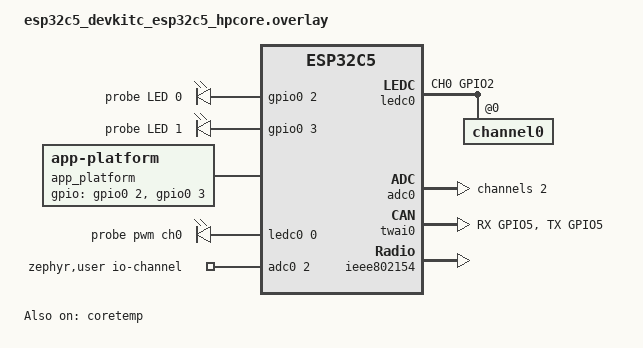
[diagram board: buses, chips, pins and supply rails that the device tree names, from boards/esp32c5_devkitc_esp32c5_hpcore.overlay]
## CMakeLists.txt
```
# SPDX-License-Identifier: Apache-2.0

cmake_minimum_required(VERSION 3.20.0)
find_package(Zephyr REQUIRED HINTS $ENV{ZEPHYR_BASE})
project(app_probe)

target_sources(app PRIVATE
  src/main.c
)

# Build the probe as a loadable llext, embedded and SHA-256 verified.
set(ext_src ${PROJECT_SOURCE_DIR}/module/src/probe_app.c)
set(bin ${PROJECT_BINARY_DIR}/llext/probe_app.llext)
set(inc ${ZEPHYR_BINARY_DIR}/include/generated/probe_app.inc)
set(sha ${ZEPHYR_BINARY_DIR}/include/generated/probe_app.sha256.inc)

app_platform_add_module(probe_app_ext OUTPUT ${bin} SOURCES ${ext_src})
if(NOT CONFIG_APP_PLATFORM_BLE)
  llext_compile_definitions(probe_app_ext PROBE_NO_BLE)
endif()
if(NOT CONFIG_APP_PLATFORM_RADIO)
  llext_compile_definitions(probe_app_ext PROBE_NO_RADIO)
endif()
llext_include_directories(probe_app_ext
  ${CMAKE_CURRENT_SOURCE_DIR}/src
  ${ZEPHYR_BINARY_DIR}/include/generated
)
generate_inc_file_for_target(app ${bin} ${inc})

add_custom_command(
  OUTPUT  ${sha}
  COMMAND ${CMAKE_COMMAND}
    -DMODULE_BIN=${bin}
    -DOUT_INC=${sha}
    -P ${CMAKE_CURRENT_SOURCE_DIR}/cmake/gen_sha256_inc.cmake
  DEPENDS ${bin}
)
add_custom_target(probe_app_sha DEPENDS ${sha})
add_dependencies(app probe_app_sha)
```

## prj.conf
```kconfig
CONFIG_APPLICATION_DEFINED_SYSCALL=y

CONFIG_APP_PLATFORM=y
CONFIG_APP_PLATFORM_MAX_APPS=1
CONFIG_APP_PLATFORM_LOADER=y
CONFIG_APP_PLATFORM_SERVICES=y
CONFIG_APP_PLATFORM_GPIO=y
CONFIG_APP_PLATFORM_PERIPH=y
CONFIG_APP_PLATFORM_BUS=y
CONFIG_APP_PLATFORM_BLE=y

CONFIG_TASK_WDT=y
CONFIG_TASK_WDT_CHANNELS=6

CONFIG_LLEXT=y
CONFIG_LLEXT_HEAP_SIZE=64
CONFIG_LLEXT_TYPE_ELF_RELOCATABLE=y

CONFIG_PSA_CRYPTO=y
CONFIG_MBEDTLS_ENABLE_HEAP=y
CONFIG_PSA_WANT_ALG_SHA_256=y

CONFIG_ENTROPY_GENERATOR=y

CONFIG_SENSOR=y
CONFIG_GPIO=y
CONFIG_PWM=y
CONFIG_ADC=y
CONFIG_I2C=y
CONFIG_SPI=y
CONFIG_SERIAL=y

CONFIG_BT=y
CONFIG_BT_OBSERVER=y
CONFIG_BT_CENTRAL=y
CONFIG_BT_GATT_CLIENT=y
CONFIG_BT_DEVICE_NAME="c6-platform"

CONFIG_APP_PLATFORM_RADIO=y
CONFIG_NETWORKING=y
CONFIG_NET_IPV6=y
CONFIG_NET_UDP=y
CONFIG_NET_SOCKETS=y
CONFIG_NET_L2_IEEE802154=y
CONFIG_NET_CONFIG_IEEE802154_CHANNEL=26
CONFIG_NET_CONFIG_SETTINGS=y
CONFIG_NET_CONFIG_NEED_IPV6=y
CONFIG_NET_CONFIG_MY_IPV6_ADDR="2001:db8::2"
CONFIG_NET_CONFIG_PEER_IPV6_ADDR="2001:db8::1"

CONFIG_FLASH=y
CONFIG_FLASH_MAP=y
CONFIG_FLASH_PAGE_LAYOUT=y

CONFIG_HWINFO=y

CONFIG_APP_PLATFORM_CAN=y
CONFIG_APP_PLATFORM_CAN_LOOPBACK=y
CONFIG_CAN=y

CONFIG_APP_PLATFORM_DMA=y
CONFIG_DMA=y
CONFIG_DMA_ESP32=y

CONFIG_LOG=y
CONFIG_LOG_MODE_MINIMAL=y
CONFIG_THREAD_NAME=y
CONFIG_THREAD_STACK_INFO=y
CONFIG_INIT_STACKS=y
CONFIG_THREAD_RUNTIME_STATS=y

CONFIG_MAIN_STACK_SIZE=4096
CONFIG_HEAP_MEM_POOL_SIZE=32768
CONFIG_APP_PLATFORM_SENSOR=y
```

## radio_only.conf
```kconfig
# Build the probe with BLE compiled out so the 802.15.4 radio service can be
# exercised. BLE and 802.15.4 share one radio on this SoC and cannot run at
# once, so the radio echo test runs only in this configuration.
#   west build -b <board> samples/subsys/app_probe -- -DEXTRA_CONF_FILE=radio_only.conf
CONFIG_BT=n
CONFIG_APP_PLATFORM_BLE=n
```

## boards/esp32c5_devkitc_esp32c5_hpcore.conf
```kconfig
# The ESP32-C5 has 378 KB of internal SRAM: with Bluetooth, 802.15.4 and every
# service group compiled in, a 24 KB loadable-extension heap is what fits.
CONFIG_LLEXT_HEAP_SIZE=24
CONFIG_BT_DEVICE_NAME="c5-platform"
```

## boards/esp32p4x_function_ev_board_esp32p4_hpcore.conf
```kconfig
# The ESP32-P4 has no native radio: build the probe without the Bluetooth and
# 802.15.4 service groups.
CONFIG_BT=n
CONFIG_APP_PLATFORM_BLE=n
CONFIG_APP_PLATFORM_RADIO=n
CONFIG_NETWORKING=n
```

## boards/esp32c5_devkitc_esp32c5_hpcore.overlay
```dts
/*
 * Copyright (c) 2026 Espressif Systems (Shanghai) Co., Ltd.
 *
 * SPDX-License-Identifier: Apache-2.0
 */

#include <zephyr/dt-bindings/pinctrl/esp32c5-pinctrl.h>
#include <zephyr/dt-bindings/pwm/pwm.h>

/ {
	leds {
		compatible = "gpio-leds";

		led_a: led_0 {
			gpios = <&gpio0 2 GPIO_ACTIVE_HIGH>;
			label = "probe LED 0";
		};

		led_b: led_1 {
			gpios = <&gpio0 3 GPIO_ACTIVE_HIGH>;
			label = "probe LED 1";
		};
	};

	app_platform {
		compatible = "zephyr,app-platform";
		gpios = <&gpio0 2 GPIO_ACTIVE_HIGH>,
			<&gpio0 3 GPIO_ACTIVE_HIGH>;
		line-names = "probe LED 0", "probe LED 1";
	};

	app_pwm: app_pwm {
		compatible = "pwm-leds";

		app_pwm_ch0: app_pwm_ch0 {
			pwms = <&ledc0 0 PWM_HZ(1000) PWM_POLARITY_NORMAL>;
			label = "probe pwm ch0";
		};
	};

	zephyr,user {
		io-channels = <&adc0 2>;
	};

	aliases {
		led0 = &led_a;
		led1 = &led_b;
		app-pwm0 = &app_pwm_ch0;
		app-i2c = &i2c0;
		app-spi = &spi2;
	};

	chosen {
		app-uart = &uart0;
	};
};

&pinctrl {
	ledc0_default: ledc0_default {
		group1 {
			pinmux = <LEDC_CH0_GPIO2>;
			output-enable;
		};
	};

	twai_default: twai_default {
		group1 {
			pinmux = <TWAI0_RX_GPIO5>;
			output-enable;
		};

		group2 {
			pinmux = <TWAI0_TX_GPIO5>;
			input-enable;
		};
	};
};

&ledc0 {
	pinctrl-0 = <&ledc0_default>;
	pinctrl-names = "default";
	status = "okay";
	#address-cells = <1>;
	#size-cells = <0>;

	channel0@0 {
		reg = <0x0>;
		timer = <0>;
	};
};

&adc0 {
	#address-cells = <1>;
	#size-cells = <0>;
	status = "okay";

	channel@2 {
		reg = <2>;
		zephyr,gain = "ADC_GAIN_1_4";
		zephyr,reference = "ADC_REF_INTERNAL";
		zephyr,acquisition-time = <ADC_ACQ_TIME_DEFAULT>;
		zephyr,resolution = <12>;
	};
};

&twai0 {
	status = "okay";
	pinctrl-0 = <&twai_default>;
	pinctrl-names = "default";

	can-transceiver {
		max-bitrate = <1000000>;
	};
};

&dma {
	status = "okay";
};

&ieee802154 {
	status = "okay";
};

&coretemp {
	status = "okay";
};
```

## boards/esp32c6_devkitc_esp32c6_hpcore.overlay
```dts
/*
 * Copyright (c) 2026 Espressif Systems (Shanghai) Co., Ltd.
 * SPDX-License-Identifier: Apache-2.0
 */

#include <zephyr/dt-bindings/pwm/pwm.h>

/ {
	leds {
		compatible = "gpio-leds";

		led_a: led_0 {
			gpios = <&gpio0 6 GPIO_ACTIVE_HIGH>;
			label = "probe LED 0";
		};

		led_b: led_1 {
			gpios = <&gpio0 7 GPIO_ACTIVE_HIGH>;
			label = "probe LED 1";
		};
	};

	app_platform {
		compatible = "zephyr,app-platform";
		gpios = <&gpio0 6 GPIO_ACTIVE_HIGH>,
			<&gpio0 7 GPIO_ACTIVE_HIGH>;
		line-names = "probe LED 0", "probe LED 1";
	};

	app_pwm: app_pwm {
		compatible = "pwm-leds";

		app_pwm_ch0: app_pwm_ch0 {
			pwms = <&ledc0 0 PWM_HZ(1000) PWM_POLARITY_NORMAL>;
			label = "probe pwm ch0";
		};
	};

	zephyr,user {
		io-channels = <&adc0 2>;
	};

	aliases {
		app-pwm0 = &app_pwm_ch0;
		app-i2c = &i2c0;
		app-spi = &spi2;
	};
};

&pinctrl {
	ledc0_default: ledc0_default {
		group1 {
			pinmux = <LEDC_CH0_GPIO2>;
			output-enable;
		};
	};

	twai_default: twai_default {
		group1 {
			pinmux = <TWAI0_RX_GPIO5>;
			output-enable;
		};

		group2 {
			pinmux = <TWAI0_TX_GPIO5>;
			input-enable;
		};
	};
};

&twai0 {
	status = "okay";
	bitrate = <125000>;
	pinctrl-0 = <&twai_default>;
	pinctrl-names = "default";

	can-transceiver {
		max-bitrate = <1000000>;
	};
};

&ledc0 {
	pinctrl-0 = <&ledc0_default>;
	pinctrl-names = "default";
	status = "okay";
	#address-cells = <1>;
	#size-cells = <0>;

	channel0@0 {
		reg = <0x0>;
		timer = <0>;
	};
};

&adc0 {
	#address-cells = <1>;
	#size-cells = <0>;
	status = "okay";

	channel@2 {
		reg = <2>;
		zephyr,gain = "ADC_GAIN_1_4";
		zephyr,reference = "ADC_REF_INTERNAL";
		zephyr,acquisition-time = <ADC_ACQ_TIME_DEFAULT>;
		zephyr,resolution = <12>;
	};
};

&dma {
	status = "okay";
};

&coretemp {
	status = "okay";
};

&ieee802154 {
	status = "okay";
};
```

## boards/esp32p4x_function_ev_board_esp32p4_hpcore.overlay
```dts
/*
 * Copyright (c) 2026 Espressif Systems (Shanghai) Co., Ltd.
 *
 * SPDX-License-Identifier: Apache-2.0
 */

#include <zephyr/dt-bindings/pinctrl/esp32p4-pinctrl.h>
#include <zephyr/dt-bindings/pwm/pwm.h>

/ {
	leds {
		compatible = "gpio-leds";

		led_a: led_0 {
			gpios = <&gpio0 2 GPIO_ACTIVE_HIGH>;
			label = "probe LED 0";
		};

		led_b: led_1 {
			gpios = <&gpio0 3 GPIO_ACTIVE_HIGH>;
			label = "probe LED 1";
		};
	};

	app_platform {
		compatible = "zephyr,app-platform";
		gpios = <&gpio0 2 GPIO_ACTIVE_HIGH>,
			<&gpio0 3 GPIO_ACTIVE_HIGH>;
		line-names = "probe LED 0", "probe LED 1";
	};

	app_pwm: app_pwm {
		compatible = "pwm-leds";

		app_pwm_ch0: app_pwm_ch0 {
			pwms = <&ledc0 0 PWM_HZ(1000) PWM_POLARITY_NORMAL>;
			label = "probe pwm ch0";
		};
	};

	zephyr,user {
		io-channels = <&adc0 2>;
	};

	aliases {
		led0 = &led_a;
		led1 = &led_b;
		app-pwm0 = &app_pwm_ch0;
		app-i2c = &i2c0;
		app-spi = &spi2;
	};

	chosen {
		app-uart = &uart0;
		zephyr,canbus = &twai0;
	};
};

&pinctrl {
	ledc0_default: ledc0_default {
		group1 {
			pinmux = <LEDC_CH0_GPIO2>;
			output-enable;
		};
	};

	twai_default: twai_default {
		group1 {
			pinmux = <TWAI0_RX_GPIO5>;
			output-enable;
		};

		group2 {
			pinmux = <TWAI0_TX_GPIO5>;
			input-enable;
		};
	};
};

&ledc0 {
	pinctrl-0 = <&ledc0_default>;
	pinctrl-names = "default";
	status = "okay";
	#address-cells = <1>;
	#size-cells = <0>;

	channel0@0 {
		reg = <0x0>;
		timer = <0>;
	};
};

&adc0 {
	#address-cells = <1>;
	#size-cells = <0>;
	status = "okay";

	channel@2 {
		reg = <2>;
		zephyr,gain = "ADC_GAIN_1_4";
		zephyr,reference = "ADC_REF_INTERNAL";
		zephyr,acquisition-time = <ADC_ACQ_TIME_DEFAULT>;
		zephyr,resolution = <12>;
	};
};

&twai0 {
	status = "okay";
	pinctrl-0 = <&twai_default>;
	pinctrl-names = "default";

	can-transceiver {
		max-bitrate = <1000000>;
	};
};
```

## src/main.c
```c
/*
 * Copyright (c) 2026 Espressif Systems (Shanghai) Co., Ltd.
 *
 * SPDX-License-Identifier: Apache-2.0
 */

/*
 * Shared service library probe. A loadable app is verified, loaded and run
 * isolated, granted a set of capabilities, and calls the platform's shared
 * services (time, random, crypto). The services, their capability checks and
 * their syscalls all live in the platform, so the app links none of it. This
 * shows the shared library is reachable and capability-gated from a downloadable
 * app.
 */

#include <zephyr/app_platform/app_platform.h>
#include <zephyr/app_platform/app_loader.h>
#include <zephyr/app_platform/app_caps.h>
#include <zephyr/app_platform/app_services.h>
#include <zephyr/kernel.h>
#include <zephyr/sys/printk.h>

static const uint8_t probe_app[] __aligned(8) = {
#include "probe_app.inc"
};
static const uint8_t probe_app_hash[32] = {
#include "probe_app.sha256.inc"
};

int main(void)
{
	printk("\n*** shared service library probe (llext, C6) ***\n");

	if (app_platform_init() != 0) {
		printk("platform init failed\n");
		return 0;
	}

	struct llext *ext = NULL;
	void *entry = NULL;
	int rc = app_loader_verify_load("probe", probe_app, ARRAY_SIZE(probe_app),
					probe_app_hash, "app_main", &ext, &entry);

	if (rc != 0) {
		printk("load failed: %d\n", rc);
		return 0;
	}

	app_caps_t caps = APP_CAP_LOG | APP_CAP_TIME | APP_CAP_RANDOM |
			APP_CAP_CRYPTO | APP_CAP_SENSOR | APP_CAP_KV |
			APP_CAP_FLASH | APP_CAP_GPIO | APP_CAP_IPC |
			APP_CAP_INSPECT | APP_CAP_PWM | APP_CAP_ADC |
			APP_CAP_I2C | APP_CAP_SPI | APP_CAP_UART |
			APP_CAP_BLE | APP_CAP_RADIO |
			APP_CAP_CAN | APP_CAP_DMA;

	/*
	 * Grant only line 0 before launch (the first app takes group id 0), so
	 * the probe sees line 0 allowed and line 1 refused regardless of when
	 * its thread is first scheduled.
	 */
	app_platform_grant_gpio(0, BIT(0));
	app_platform_grant_pwm(0, BIT(0));
	app_platform_grant_adc(0, BIT(0));
	(void)app_platform_grant_i2c(0, 0x50);
	app_platform_grant_spi(0, true);
	/* The last 8 KB of the storage partition, clear of the registry and
	 * the module blobs that live at its start.
	 */
	app_platform_grant_flash(0, 184 * 1024, 8 * 1024);

	app_platform_launch_llext("probe", ext, (app_entry_t)entry, NULL, caps);

	k_msleep(25000);

	printk("\n*** done: a loadable app used the shared service library ***\n");
	return 0;
}
```

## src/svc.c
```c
/*
 * Copyright (c) 2026 Espressif Systems (Shanghai) Co., Ltd.
 *
 * SPDX-License-Identifier: Apache-2.0
 */

#include "svc.h"

#include <zephyr/kernel.h>
#include <zephyr/sys/printk.h>
#include <zephyr/internal/syscall_handler.h>
#include <zephyr/app_platform/app_platform.h>
#include <zephyr/drivers/sensor.h>
#include <zephyr/storage/flash_map.h>
#include <zephyr/random/random.h>
#include <psa/crypto.h>
#include <string.h>
#include <errno.h>

#define PART_ID FIXED_PARTITION_ID(storage_partition)
#define XFER_MAX 128

static const struct device *const die_temp = DEVICE_DT_GET(DT_ALIAS(die_temp0));

/* A tiny in-RAM key/value store for the probe. */
struct kv_entry {
	char     key[16];
	uint32_t value;
	bool     used;
};
static struct kv_entry kv[8];

void z_impl_svc_log(const char *msg)
{
	printk("    [app %d] %s\n", app_platform_id_current(), msg);
}

void z_impl_svc_heartbeat(void)
{
	app_platform_heartbeat();
}

uint32_t z_impl_svc_uptime(void)
{
	return (uint32_t)k_uptime_get();
}

int z_impl_svc_die_temp_milli(void)
{
	if (!device_is_ready(die_temp) || sensor_sample_fetch(die_temp) != 0) {
		return 0;
	}
	struct sensor_value v;

	sensor_channel_get(die_temp, SENSOR_CHAN_DIE_TEMP, &v);
	return v.val1 * 1000 + v.val2 / 1000;
}

int z_impl_svc_random(uint8_t *buf, size_t len)
{
	if (len > XFER_MAX) {
		return -EINVAL;
	}
	sys_rand_get(buf, len);
	return 0;
}

int z_impl_svc_kv_set(const char *key, uint32_t value)
{
	struct kv_entry *free_slot = NULL;

	for (int i = 0; i < (int)ARRAY_SIZE(kv); i++) {
		if (kv[i].used && strcmp(kv[i].key, key) == 0) {
			kv[i].value = value;
			return 0;
		}
		if (!kv[i].used && free_slot == NULL) {
			free_slot = &kv[i];
		}
	}
	if (free_slot == NULL) {
		return -ENOSPC;
	}
	strncpy(free_slot->key, key, sizeof(free_slot->key) - 1);
	free_slot->value = value;
	free_slot->used = true;
	return 0;
}

int z_impl_svc_kv_get(const char *key, uint32_t *out)
{
	for (int i = 0; i < (int)ARRAY_SIZE(kv); i++) {
		if (kv[i].used && strcmp(kv[i].key, key) == 0) {
			*out = kv[i].value;
			return 0;
		}
	}
	return -ENOENT;
}

int z_impl_svc_sha(const uint8_t *in, size_t len, uint8_t *out32)
{
	if (len > XFER_MAX) {
		return -EINVAL;
	}
	size_t olen;
	psa_status_t st = psa_hash_compute(PSA_ALG_SHA_256, in, len, out32, 32,
					   &olen);

	return (st == PSA_SUCCESS && olen == 32) ? 0 : -EIO;
}

int z_impl_svc_flash_read(uint32_t off, uint8_t *buf, size_t len)
{
	const struct flash_area *fa;

	if (len > XFER_MAX || flash_area_open(PART_ID, &fa) != 0) {
		return -EIO;
	}
	int rc = flash_area_read(fa, off, buf, len);

	flash_area_close(fa);
	return rc;
}

#ifdef CONFIG_USERSPACE
static inline void z_vrfy_svc_log(const char *msg)
{
	char buf[64];

	if (k_usermode_string_copy(buf, (char *)msg, sizeof(buf)) == 0) {
		z_impl_svc_log(buf);
	}
}
#include <zephyr/syscalls/svc_log_mrsh.c>

static inline void z_vrfy_svc_heartbeat(void)
{
	z_impl_svc_heartbeat();
}
#include <zephyr/syscalls/svc_heartbeat_mrsh.c>

static inline uint32_t z_vrfy_svc_uptime(void)
{
	return z_impl_svc_uptime();
}
#include <zephyr/syscalls/svc_uptime_mrsh.c>

static inline int z_vrfy_svc_die_temp_milli(void)
{
	return z_impl_svc_die_temp_milli();
}
#include <zephyr/syscalls/svc_die_temp_milli_mrsh.c>

static inline int z_vrfy_svc_random(uint8_t *buf, size_t len)
{
	K_OOPS(K_SYSCALL_MEMORY_WRITE(buf, len));
	return z_impl_svc_random(buf, len);
}
#include <zephyr/syscalls/svc_random_mrsh.c>

static inline int z_vrfy_svc_kv_set(const char *key, uint32_t value)
{
	char buf[16];

	if (k_usermode_string_copy(buf, (char *)key, sizeof(buf)) != 0) {
		return -EFAULT;
	}
	return z_impl_svc_kv_set(buf, value);
}
#include <zephyr/syscalls/svc_kv_set_mrsh.c>

static inline int z_vrfy_svc_kv_get(const char *key, uint32_t *out)
{
	char buf[16];

	if (k_usermode_string_copy(buf, (char *)key, sizeof(buf)) != 0) {
		return -EFAULT;
	}
	K_OOPS(K_SYSCALL_MEMORY_WRITE(out, sizeof(*out)));
	return z_impl_svc_kv_get(buf, out);
}
#include <zephyr/syscalls/svc_kv_get_mrsh.c>

static inline int z_vrfy_svc_sha(const uint8_t *in, size_t len, uint8_t *out32)
{
	K_OOPS(K_SYSCALL_MEMORY_READ(in, len));
	K_OOPS(K_SYSCALL_MEMORY_WRITE(out32, 32));
	return z_impl_svc_sha(in, len, out32);
}
#include <zephyr/syscalls/svc_sha_mrsh.c>

static inline int z_vrfy_svc_flash_read(uint32_t off, uint8_t *buf, size_t len)
{
	K_OOPS(K_SYSCALL_MEMORY_WRITE(buf, len));
	return z_impl_svc_flash_read(off, buf, len);
}
#include <zephyr/syscalls/svc_flash_read_mrsh.c>
#endif
```

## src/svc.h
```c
/*
 * Copyright (c) 2026 Espressif Systems (Shanghai) Co., Ltd.
 *
 * SPDX-License-Identifier: Apache-2.0
 */

#ifndef APP_PROBE_SVC_H_
#define APP_PROBE_SVC_H_

#include <zephyr/kernel.h>

/*
 * A spread of services chosen to exercise every kind of syscall boundary from a
 * loadable app: scalar return, buffer write to the app, string read from the
 * app, buffer in and buffer out, and a peripheral read. The point is to find out
 * which service shapes work unchanged from an llext module and which need care.
 */
__syscall void svc_log(const char *msg);
__syscall void svc_heartbeat(void);

/* scalar return, no buffer */
__syscall uint32_t svc_uptime(void);

/* sensor scalar (control - already known to work from llext) */
__syscall int svc_die_temp_milli(void);

/* write a buffer back to the app */
__syscall int svc_random(uint8_t *buf, size_t len);

/* read a string from the app, plus a scalar */
__syscall int svc_kv_set(const char *key, uint32_t value);

/* read a string from the app, write a scalar back */
__syscall int svc_kv_get(const char *key, uint32_t *out);

/* read a buffer from the app and write a buffer back (PSA SHA-256) */
__syscall int svc_sha(const uint8_t *in, size_t len, uint8_t *out32);

/* peripheral read into an app buffer (raw flash partition) */
__syscall int svc_flash_read(uint32_t off, uint8_t *buf, size_t len);

#include <zephyr/syscalls/svc.h>

#endif /* APP_PROBE_SVC_H_ */
```
